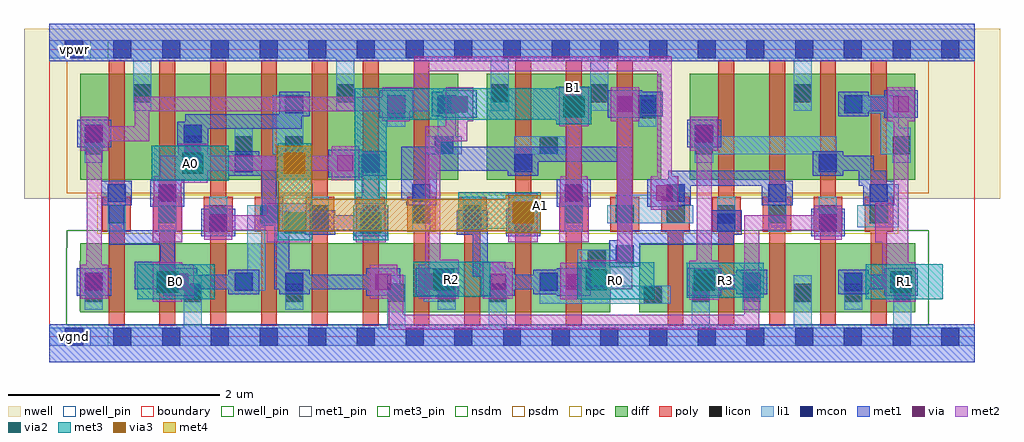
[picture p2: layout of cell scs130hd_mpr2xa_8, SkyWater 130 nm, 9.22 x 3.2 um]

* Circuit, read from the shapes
.subckt scs130hd_mpr2xa_8 A0 A1 B0 B1 R0 R1 R2 R3 VNB VPB vgnd vpwr
XM1 n1 B0 n2 VNB sky130_fd_pr__nfet_01v8 w=0.65 l=0.15
XM2 vgnd A0 n1 VNB sky130_fd_pr__nfet_01v8 w=0.65 l=0.15
XM3 n3 A1 vgnd VNB sky130_fd_pr__nfet_01v8 w=0.65 l=0.15
XM4 n4 B0 n3 VNB sky130_fd_pr__nfet_01v8 w=0.65 l=0.15
XM5 n5 B1 n4 VNB sky130_fd_pr__nfet_01v8 w=0.65 l=0.15
XM6 vgnd A0 n5 VNB sky130_fd_pr__nfet_01v8 w=0.65 l=0.15
XM7 R2 n6 vgnd VNB sky130_fd_pr__nfet_01v8 w=0.65 l=0.15
XM8 vgnd R0 R2 VNB sky130_fd_pr__nfet_01v8 w=0.65 l=0.15
XM9 n7 A1 vgnd VNB sky130_fd_pr__nfet_01v8 w=0.65 l=0.15
XM10 n6 B1 n7 VNB sky130_fd_pr__nfet_01v8 w=0.65 l=0.15
XM11 vgnd n2 R0 VNB sky130_fd_pr__nfet_01v8 w=0.65 l=0.15
XM12 R3 n6 vgnd VNB sky130_fd_pr__nfet_01v8 w=0.65 l=0.15
XM13 vgnd n2 R3 VNB sky130_fd_pr__nfet_01v8 w=0.65 l=0.15
XM14 R1 n4 vgnd VNB sky130_fd_pr__nfet_01v8 w=0.65 l=0.15
XM15 vgnd R3 R1 VNB sky130_fd_pr__nfet_01v8 w=0.65 l=0.15
XM16 vpwr B0 n2 VPB sky130_fd_pr__pfet_01v8 w=1 l=0.15
XM17 n8 A0 vpwr VPB sky130_fd_pr__pfet_01v8 w=1 l=0.15
XM18 n4 A1 n8 VPB sky130_fd_pr__pfet_01v8 w=1 l=0.15
XM19 n8 B0 n4 VPB sky130_fd_pr__pfet_01v8 w=1 l=0.15
XM20 vpwr B1 n8 VPB sky130_fd_pr__pfet_01v8 w=1 l=0.15
XM21 n2 A0 vpwr VPB sky130_fd_pr__pfet_01v8 w=1 l=0.15
XM22 R2 n6 n2 VPB sky130_fd_pr__pfet_01v8 w=1 l=0.15
XM23 n6 A1 vpwr VPB sky130_fd_pr__pfet_01v8 w=1 l=0.15
XM24 vpwr B1 n6 VPB sky130_fd_pr__pfet_01v8 w=1 l=0.15
XM25 R0 n2 vpwr VPB sky130_fd_pr__pfet_01v8 w=1 l=0.15
XM26 n9 n6 R3 VPB sky130_fd_pr__pfet_01v8 w=1 l=0.15
XM27 vpwr n2 n9 VPB sky130_fd_pr__pfet_01v8 w=1 l=0.15
XM28 n10 n4 vpwr VPB sky130_fd_pr__pfet_01v8 w=1 l=0.15
XM29 R1 R3 n10 VPB sky130_fd_pr__pfet_01v8 w=1 l=0.15
.ends

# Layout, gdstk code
import gdstk
lib = gdstk.Library(unit=1e-6, precision=1e-09)
def R(c, l, rs):  # rectangles x0, y0, x1, y1
    for r in rs: c.add(gdstk.rectangle(r[:2], r[2:], *l))
nwell_pin = (64, 16)
nwell = (64, 20)
diff = (65, 20)
poly = (66, 20)
licon = (66, 44)
li1 = (67, 20)
mcon = (67, 44)
met1_pin = (68, 16)
met1 = (68, 20)
via = (68, 44)
met2 = (69, 20)
via2 = (69, 44)
met3_pin = (70, 16)
met3 = (70, 20)
via3 = (70, 44)
met4 = (71, 20)
nsdm = (93, 44)
psdm = (94, 20)
npc = (95, 20)
pwell_pin = (122, 16)
boundary = (235, 4)

scs130hd_mpr2xa_8 = lib.new_cell('scs130hd_mpr2xa_8')
R(scs130hd_mpr2xa_8, nwell_pin, [(0.385,2.635,0.555,2.805), (0.385,2.635,0.555,2.805)])
R(scs130hd_mpr2xa_8, nwell, [(-0.24,1.305,8.98,2.91), (-0.24,1.305,8.98,2.91)])
R(scs130hd_mpr2xa_8, diff, [(0.29,0.235,5.3,0.245), (0.29,0.235,5.3,0.245), (5.57,0.235,8.18,0.885), (5.57,0.235,8.18,0.885), (0.285,0.245,5.3,0.715), (0.285,0.245,5.3,0.715), (0.29,0.715,5.3,0.885), (0.29,0.715,5.3,0.885), (0.29,1.485,3.86,2.485), (0.29,1.485,3.86,2.485), (4.13,1.485,5.78,2.485), (4.13,1.485,5.78,2.485), (6.05,1.485,8.18,2.485), (6.05,1.485,8.18,2.485)])
R(scs130hd_mpr2xa_8, poly, [(0.56,0.105,0.71,0.995), (0.56,0.105,0.71,0.995), (1.04,0.105,1.19,0.995), (1.04,0.105,1.19,0.995), (1.52,0.105,1.67,0.995), (1.52,0.105,1.67,0.995), (2,0.105,2.15,0.995), (2,0.105,2.15,0.995), (2.48,0.105,2.63,0.995), (2.48,0.105,2.63,0.995), (2.96,0.105,3.11,0.995), (2.96,0.105,3.11,0.995), (3.44,0.105,3.59,0.995), (3.44,0.105,3.59,0.995), (3.92,0.105,4.07,0.995), (3.92,0.105,4.07,0.995), (4.4,0.105,4.55,0.995), (4.4,0.105,4.55,0.995), (4.88,0.105,5.03,0.995), (4.88,0.105,5.03,0.995), (5.84,0.105,5.99,0.995), (5.84,0.105,5.99,0.995), (6.32,0.105,6.47,0.995), (6.32,0.105,6.47,0.995), (6.8,0.105,6.95,0.995), (6.8,0.105,6.95,0.995), (7.28,0.105,7.43,0.995), (7.28,0.105,7.43,0.995), (7.76,0.105,7.91,0.995), (7.76,0.105,7.91,0.995), (0.5,0.995,0.77,1.325), (0.5,0.995,0.77,1.325), (0.98,0.995,1.25,1.325), (0.98,0.995,1.25,1.325), (1.46,0.995,1.73,1.325), (1.46,0.995,1.73,1.325), (1.94,0.995,2.21,1.325), (1.94,0.995,2.21,1.325), (2.42,0.995,2.69,1.325), (2.42,0.995,2.69,1.325), (2.9,0.995,3.17,1.325), (2.9,0.995,3.17,1.325), (3.38,0.995,3.65,1.325), (3.38,0.995,3.65,1.325), (3.86,0.995,4.13,1.325), (3.86,0.995,4.13,1.325), (4.34,0.995,4.61,1.325), (4.34,0.995,4.61,1.325), (4.82,0.995,5.09,1.325), (4.82,0.995,5.09,1.325), (5.3,0.995,5.57,1.325), (5.3,0.995,5.57,1.325), (5.78,0.995,6.05,1.325), (5.78,0.995,6.05,1.325), (6.26,0.995,6.53,1.325), (6.26,0.995,6.53,1.325), (6.74,0.995,7.01,1.325), (6.74,0.995,7.01,1.325), (7.22,0.995,7.49,1.325), (7.22,0.995,7.49,1.325), (7.7,0.995,7.97,1.325), (7.7,0.995,7.97,1.325), (0.56,1.325,0.71,2.615), (0.56,1.325,0.71,2.615), (1.04,1.325,1.19,2.615), (1.04,1.325,1.19,2.615), (1.52,1.325,1.67,2.615), (1.52,1.325,1.67,2.615), (2,1.325,2.15,2.615), (2,1.325,2.15,2.615), (2.48,1.325,2.63,2.615), (2.48,1.325,2.63,2.615), (2.96,1.325,3.11,2.615), (2.96,1.325,3.11,2.615), (3.44,1.325,3.59,2.615), (3.44,1.325,3.59,2.615), (4.4,1.325,4.55,2.615), (4.4,1.325,4.55,2.615), (4.88,1.325,5.03,2.615), (4.88,1.325,5.03,2.615), (5.36,1.325,5.51,2.615), (5.36,1.325,5.51,2.615), (6.32,1.325,6.47,2.615), (6.32,1.325,6.47,2.615), (6.8,1.325,6.95,2.615), (6.8,1.325,6.95,2.615), (7.28,1.325,7.43,2.615), (7.28,1.325,7.43,2.615), (7.76,1.325,7.91,2.615), (7.76,1.325,7.91,2.615)])
R(scs130hd_mpr2xa_8, licon, [(5.615,0.315,5.785,0.485), (5.615,0.315,5.785,0.485), (0.335,0.335,0.505,0.505), (0.335,0.335,0.505,0.505), (1.27,0.335,1.44,0.505), (1.27,0.335,1.44,0.505), (2.23,0.335,2.4,0.505), (2.23,0.335,2.4,0.505), (3.19,0.335,3.36,0.505), (3.19,0.335,3.36,0.505), (3.67,0.335,3.84,0.505), (3.67,0.335,3.84,0.505), (4.15,0.335,4.32,0.505), (4.15,0.335,4.32,0.505), (6.07,0.335,6.24,0.505), (6.07,0.335,6.24,0.505), (6.55,0.335,6.72,0.505), (6.55,0.335,6.72,0.505), (7.03,0.335,7.2,0.505), (7.03,0.335,7.2,0.505), (7.51,0.335,7.68,0.505), (7.51,0.335,7.68,0.505), (7.97,0.335,8.14,0.505), (7.97,0.335,8.14,0.505), (5.085,0.655,5.255,0.825), (5.085,0.655,5.255,0.825), (0.55,1.075,0.72,1.245), (0.55,1.075,0.72,1.245), (1.03,1.075,1.2,1.245), (1.03,1.075,1.2,1.245), (1.51,1.075,1.68,1.245), (1.51,1.075,1.68,1.245), (1.99,1.075,2.16,1.245), (1.99,1.075,2.16,1.245), (2.47,1.075,2.64,1.245), (2.47,1.075,2.64,1.245), (2.95,1.075,3.12,1.245), (2.95,1.075,3.12,1.245), (3.43,1.075,3.6,1.245), (3.43,1.075,3.6,1.245), (3.91,1.075,4.08,1.245), (3.91,1.075,4.08,1.245), (4.39,1.075,4.56,1.245), (4.39,1.075,4.56,1.245), (4.87,1.075,5.04,1.245), (4.87,1.075,5.04,1.245), (5.35,1.075,5.52,1.245), (5.35,1.075,5.52,1.245), (5.83,1.075,6,1.245), (5.83,1.075,6,1.245), (6.31,1.075,6.48,1.245), (6.31,1.075,6.48,1.245), (6.79,1.075,6.96,1.245), (6.79,1.075,6.96,1.245), (7.27,1.075,7.44,1.245), (7.27,1.075,7.44,1.245), (7.75,1.075,7.92,1.245), (7.75,1.075,7.92,1.245), (0.335,1.725,0.505,1.895), (0.335,1.725,0.505,1.895), (1.27,1.725,1.44,1.895), (1.27,1.725,1.44,1.895), (1.75,1.725,1.92,1.895), (1.75,1.725,1.92,1.895), (2.23,1.725,2.4,1.895), (2.23,1.725,2.4,1.895), (3.645,1.725,3.815,1.895), (3.645,1.725,3.815,1.895), (4.63,1.725,4.8,1.895), (4.63,1.725,4.8,1.895), (6.095,1.725,6.265,1.895), (6.095,1.725,6.265,1.895), (7.965,1.725,8.135,1.895), (7.965,1.725,8.135,1.895), (3.19,2.065,3.36,2.235), (3.19,2.065,3.36,2.235), (5.565,2.065,5.735,2.235), (5.565,2.065,5.735,2.235), (0.79,2.215,0.96,2.385), (0.79,2.215,0.96,2.385), (2.71,2.215,2.88,2.385), (2.71,2.215,2.88,2.385), (4.17,2.215,4.34,2.385), (4.17,2.215,4.34,2.385), (5.11,2.215,5.28,2.385), (5.11,2.215,5.28,2.385), (7.03,2.215,7.2,2.385), (7.03,2.215,7.2,2.385)])
R(scs130hd_mpr2xa_8, li1, [(0,-0.085,8.74,0.085), (0,-0.085,8.74,0.085), (1.27,0.085,1.44,0.585), (1.27,0.085,1.44,0.585), (3.19,0.085,3.36,0.585), (3.19,0.085,3.36,0.585), (4.15,0.085,4.32,0.585), (4.15,0.085,4.32,0.585), (6.07,0.085,6.24,0.585), (6.07,0.085,6.24,0.585), (7.03,0.085,7.2,0.585), (7.03,0.085,7.2,0.585), (7.97,0.085,8.14,0.585), (7.97,0.085,8.14,0.585), (0.335,0.255,0.505,0.605), (0.335,0.255,0.505,0.605), (2.23,0.255,2.4,0.605), (2.23,0.255,2.4,0.605), (3.67,0.255,3.84,0.335), (3.67,0.255,3.84,0.335), (6.55,0.255,6.72,0.605), (6.55,0.255,6.72,0.605), (7.51,0.255,7.68,0.605), (7.51,0.255,7.68,0.605), (4.63,0.315,5.87,0.485), (4.63,0.315,5.87,0.485), (3.535,0.335,3.84,0.555), (3.535,0.335,3.84,0.555), (1.75,0.435,2.04,0.605), (1.75,0.435,2.04,0.605), (4.63,0.485,4.8,0.605), (4.63,0.485,4.8,0.605), (3.63,0.555,3.84,0.585), (3.63,0.555,3.84,0.585), (3.63,0.585,3.8,0.605), (3.63,0.585,3.8,0.605), (1.87,0.605,2.04,1.075), (1.87,0.605,2.04,1.075), (4.99,0.655,5.52,0.825), (4.99,0.655,5.52,0.825), (5.35,0.825,5.52,0.865), (5.35,0.825,5.52,0.865), (0.55,0.995,0.72,1.445), (0.55,0.995,0.72,1.445), (1.03,0.995,1.2,1.445), (1.03,0.995,1.2,1.445), (1.51,0.995,1.68,1.325), (1.51,0.995,1.68,1.325), (2.47,0.995,2.64,1.325), (2.47,0.995,2.64,1.325), (2.95,0.995,3.12,1.725), (2.95,0.995,3.12,1.725), (3.43,0.995,3.6,1.445), (3.43,0.995,3.6,1.445), (3.91,0.995,4.08,1.325), (3.91,0.995,4.08,1.325), (4.39,0.995,4.56,1.325), (4.39,0.995,4.56,1.325), (4.87,0.995,5.04,1.445), (4.87,0.995,5.04,1.445), (6.31,0.995,6.48,1.325), (6.31,0.995,6.48,1.325), (6.79,0.995,6.96,1.445), (6.79,0.995,6.96,1.445), (7.27,0.995,7.44,1.325), (7.27,0.995,7.44,1.325), (7.63,1.035,8.025,1.245), (7.63,1.035,8.025,1.245), (1.87,1.075,2.24,1.245), (1.87,1.075,2.24,1.245), (5.27,1.075,6.08,1.245), (5.27,1.075,6.08,1.245), (5.35,1.245,6,1.345), (5.35,1.245,6,1.345), (7.75,1.245,8.025,1.445), (7.75,1.245,8.025,1.445), (5.83,1.345,6,1.445), (5.83,1.345,6,1.445), (1.75,1.555,1.92,1.975), (1.75,1.555,1.92,1.975), (4.39,1.555,4.56,1.725), (4.39,1.555,4.56,1.725), (7.27,1.555,7.44,1.725), (7.27,1.555,7.44,1.725), (0.335,1.645,0.505,2.005), (0.335,1.645,0.505,2.005), (1.27,1.645,1.44,2.005), (1.27,1.645,1.44,2.005), (2.23,1.645,2.4,1.725), (2.23,1.645,2.4,1.725), (6.095,1.645,6.27,1.725), (6.095,1.645,6.27,1.725), (7.96,1.645,8.135,1.725), (7.96,1.645,8.135,1.725), (2.11,1.725,2.4,2.285), (2.11,1.725,2.4,2.285), (3.565,1.725,3.895,1.895), (3.565,1.725,3.895,1.895), (4.39,1.725,4.88,1.895), (4.39,1.725,4.88,1.895), (6.095,1.725,7.44,1.895), (6.095,1.725,7.44,1.895), (7.855,1.725,8.135,1.975), (7.855,1.725,8.135,1.975), (3.67,1.895,3.84,2.285), (3.67,1.895,3.84,2.285), (6.095,1.895,6.27,2.005), (6.095,1.895,6.27,2.005), (7.855,1.975,8.025,2.115), (7.855,1.975,8.025,2.115), (3.19,1.985,3.36,2.315), (3.19,1.985,3.36,2.315), (5.565,1.985,5.735,2.315), (5.565,1.985,5.735,2.315), (7.51,2.115,8.025,2.285), (7.51,2.115,8.025,2.285), (0.79,2.135,0.96,2.635), (0.79,2.135,0.96,2.635), (2.71,2.135,2.88,2.635), (2.71,2.135,2.88,2.635), (4.17,2.135,4.34,2.635), (4.17,2.135,4.34,2.635), (5.11,2.135,5.28,2.635), (5.11,2.135,5.28,2.635), (7.03,2.135,7.2,2.635), (7.03,2.135,7.2,2.635), (0,2.635,8.74,2.805), (0,2.635,8.74,2.805)])
R(scs130hd_mpr2xa_8, mcon, [(0.145,-0.085,0.315,0.085), (0.145,-0.085,0.315,0.085), (0.605,-0.085,0.775,0.085), (0.605,-0.085,0.775,0.085), (1.065,-0.085,1.235,0.085), (1.065,-0.085,1.235,0.085), (1.525,-0.085,1.695,0.085), (1.525,-0.085,1.695,0.085), (1.985,-0.085,2.155,0.085), (1.985,-0.085,2.155,0.085), (2.445,-0.085,2.615,0.085), (2.445,-0.085,2.615,0.085), (2.905,-0.085,3.075,0.085), (2.905,-0.085,3.075,0.085), (3.365,-0.085,3.535,0.085), (3.365,-0.085,3.535,0.085), (3.825,-0.085,3.995,0.085), (3.825,-0.085,3.995,0.085), (4.285,-0.085,4.455,0.085), (4.285,-0.085,4.455,0.085), (4.745,-0.085,4.915,0.085), (4.745,-0.085,4.915,0.085), (5.205,-0.085,5.375,0.085), (5.205,-0.085,5.375,0.085), (5.665,-0.085,5.835,0.085), (5.665,-0.085,5.835,0.085), (6.125,-0.085,6.295,0.085), (6.125,-0.085,6.295,0.085), (6.585,-0.085,6.755,0.085), (6.585,-0.085,6.755,0.085), (7.045,-0.085,7.215,0.085), (7.045,-0.085,7.215,0.085), (7.505,-0.085,7.675,0.085), (7.505,-0.085,7.675,0.085), (7.965,-0.085,8.135,0.085), (7.965,-0.085,8.135,0.085), (8.425,-0.085,8.595,0.085), (8.425,-0.085,8.595,0.085), (0.335,0.435,0.505,0.605), (0.335,0.435,0.505,0.605), (1.75,0.435,1.92,0.605), (1.75,0.435,1.92,0.605), (2.23,0.435,2.4,0.605), (2.23,0.435,2.4,0.605), (3.63,0.435,3.8,0.605), (3.63,0.435,3.8,0.605), (4.63,0.435,4.8,0.605), (4.63,0.435,4.8,0.605), (6.55,0.435,6.72,0.605), (6.55,0.435,6.72,0.605), (7.51,0.435,7.68,0.605), (7.51,0.435,7.68,0.605), (5.35,0.695,5.52,0.865), (5.35,0.695,5.52,0.865), (1.51,0.995,1.68,1.165), (1.51,0.995,1.68,1.165), (2.47,0.995,2.64,1.165), (2.47,0.995,2.64,1.165), (3.91,0.995,4.08,1.165), (3.91,0.995,4.08,1.165), (4.39,0.995,4.56,1.165), (4.39,0.995,4.56,1.165), (6.31,0.995,6.48,1.165), (6.31,0.995,6.48,1.165), (7.27,0.995,7.44,1.165), (7.27,0.995,7.44,1.165), (0.55,1.275,0.72,1.445), (0.55,1.275,0.72,1.445), (1.03,1.275,1.2,1.445), (1.03,1.275,1.2,1.445), (3.43,1.275,3.6,1.445), (3.43,1.275,3.6,1.445), (4.87,1.275,5.04,1.445), (4.87,1.275,5.04,1.445), (5.83,1.275,6,1.445), (5.83,1.275,6,1.445), (6.79,1.275,6.96,1.445), (6.79,1.275,6.96,1.445), (7.75,1.275,7.92,1.445), (7.75,1.275,7.92,1.445), (1.75,1.555,1.92,1.725), (1.75,1.555,1.92,1.725), (2.95,1.555,3.12,1.725), (2.95,1.555,3.12,1.725), (4.39,1.555,4.56,1.725), (4.39,1.555,4.56,1.725), (7.27,1.555,7.44,1.725), (7.27,1.555,7.44,1.725), (0.335,1.835,0.505,2.005), (0.335,1.835,0.505,2.005), (1.27,1.835,1.44,2.005), (1.27,1.835,1.44,2.005), (6.1,1.835,6.27,2.005), (6.1,1.835,6.27,2.005), (2.23,2.115,2.4,2.285), (2.23,2.115,2.4,2.285), (3.19,2.115,3.36,2.285), (3.19,2.115,3.36,2.285), (3.67,2.115,3.84,2.285), (3.67,2.115,3.84,2.285), (5.565,2.115,5.735,2.285), (5.565,2.115,5.735,2.285), (7.51,2.115,7.68,2.285), (7.51,2.115,7.68,2.285), (0.145,2.635,0.315,2.805), (0.145,2.635,0.315,2.805), (0.605,2.635,0.775,2.805), (0.605,2.635,0.775,2.805), (1.065,2.635,1.235,2.805), (1.065,2.635,1.235,2.805), (1.525,2.635,1.695,2.805), (1.525,2.635,1.695,2.805), (1.985,2.635,2.155,2.805), (1.985,2.635,2.155,2.805), (2.445,2.635,2.615,2.805), (2.445,2.635,2.615,2.805), (2.905,2.635,3.075,2.805), (2.905,2.635,3.075,2.805), (3.365,2.635,3.535,2.805), (3.365,2.635,3.535,2.805), (3.825,2.635,3.995,2.805), (3.825,2.635,3.995,2.805), (4.285,2.635,4.455,2.805), (4.285,2.635,4.455,2.805), (4.745,2.635,4.915,2.805), (4.745,2.635,4.915,2.805), (5.205,2.635,5.375,2.805), (5.205,2.635,5.375,2.805), (5.665,2.635,5.835,2.805), (5.665,2.635,5.835,2.805), (6.125,2.635,6.295,2.805), (6.125,2.635,6.295,2.805), (6.585,2.635,6.755,2.805), (6.585,2.635,6.755,2.805), (7.045,2.635,7.215,2.805), (7.045,2.635,7.215,2.805), (7.505,2.635,7.675,2.805), (7.505,2.635,7.675,2.805), (7.965,2.635,8.135,2.805), (7.965,2.635,8.135,2.805), (8.425,2.635,8.595,2.805), (8.425,2.635,8.595,2.805)])
R(scs130hd_mpr2xa_8, met1_pin, [(0.155,-0.085,0.325,0.085), (0.155,-0.085,0.325,0.085), (0.155,2.635,0.325,2.805), (0.155,2.635,0.325,2.805)])
R(scs130hd_mpr2xa_8, met1, [(0,-0.24,8.74,0.12), (0,-0.24,8.74,0.12), (0.26,0.39,0.585,0.65), (0.26,0.39,0.585,0.65), (1.075,0.39,1.395,0.45), (1.075,0.39,1.395,0.45), (2.995,0.39,3.315,0.45), (2.995,0.39,3.315,0.45), (3.46,0.39,3.86,0.65), (3.46,0.39,3.86,0.65), (4.075,0.39,4.395,0.45), (4.075,0.39,4.395,0.45), (4.795,0.39,5.115,0.405), (4.795,0.39,5.115,0.405), (6.025,0.39,6.345,0.45), (6.025,0.39,6.345,0.45), (7.885,0.39,8.205,0.45), (7.885,0.39,8.205,0.45), (1.69,0.405,1.98,0.45), (1.69,0.405,1.98,0.45), (2.17,0.405,2.46,0.45), (2.17,0.405,2.46,0.45), (4.57,0.405,5.115,0.45), (4.57,0.405,5.115,0.45), (6.49,0.405,6.78,0.45), (6.49,0.405,6.78,0.45), (7.45,0.405,7.74,0.45), (7.45,0.405,7.74,0.45), (0.805,0.45,1.98,0.59), (0.805,0.45,1.98,0.59), (2.125,0.45,3.315,0.59), (2.125,0.45,3.315,0.59), (4.075,0.45,5.115,0.57), (4.075,0.45,5.115,0.57), (6.025,0.45,6.78,0.59), (6.025,0.45,6.78,0.59), (7.45,0.45,8.205,0.59), (7.45,0.45,8.205,0.59), (4,0.57,5.115,0.59), (4,0.57,5.115,0.59), (0.805,0.59,1.395,0.65), (0.805,0.59,1.395,0.65), (1.69,0.59,1.98,0.635), (1.69,0.59,1.98,0.635), (2.125,0.59,2.46,0.635), (2.125,0.59,2.46,0.635), (2.995,0.59,3.315,0.65), (2.995,0.59,3.315,0.65), (4,0.59,4.395,0.65), (4,0.59,4.395,0.65), (4.57,0.59,5.115,0.635), (4.57,0.59,5.115,0.635), (6.025,0.59,6.345,0.65), (6.025,0.59,6.345,0.65), (6.49,0.59,6.78,0.635), (6.49,0.59,6.78,0.635), (7.45,0.59,7.74,0.635), (7.45,0.59,7.74,0.635), (7.885,0.59,8.205,0.65), (7.885,0.59,8.205,0.65), (2.125,0.635,2.265,1.05), (2.125,0.635,2.265,1.05), (4.795,0.635,5.115,0.65), (4.795,0.635,5.115,0.65), (0.805,0.65,1.185,0.71), (0.805,0.65,1.185,0.71), (4,0.65,4.305,0.71), (4,0.65,4.305,0.71), (5.29,0.665,5.58,0.87), (5.29,0.665,5.58,0.87), (1.045,0.71,1.185,0.87), (1.045,0.71,1.185,0.87), (4,0.71,4.14,0.965), (4,0.71,4.14,0.965), (0.565,0.87,1.185,1.01), (0.565,0.87,1.185,1.01), (5.29,0.87,6.465,0.915), (5.29,0.87,6.465,0.915), (5.365,0.915,6.465,0.965), (5.365,0.915,6.465,0.965), (1.435,0.95,1.755,1.21), (1.435,0.95,1.755,1.21), (2.875,0.95,3.195,1.01), (2.875,0.95,3.195,1.01), (4.315,0.95,4.635,1.21), (4.315,0.95,4.635,1.21), (7.195,0.95,7.515,1.21), (7.195,0.95,7.515,1.21), (2.41,0.965,2.7,1.01), (2.41,0.965,2.7,1.01), (3.85,0.965,4.14,1.195), (3.85,0.965,4.14,1.195), (5.365,0.965,6.54,1.01), (5.365,0.965,6.54,1.01), (0.565,1.01,0.705,1.245), (0.565,1.01,0.705,1.245), (2.41,1.01,3.195,1.15), (2.41,1.01,3.195,1.15), (5.365,1.01,5.505,1.655), (5.365,1.01,5.505,1.655), (6.25,1.01,6.54,1.195), (6.25,1.01,6.54,1.195), (2.005,1.05,2.265,1.19), (2.005,1.05,2.265,1.19), (2.41,1.15,2.7,1.195), (2.41,1.15,2.7,1.195), (2.875,1.15,3.195,1.21), (2.875,1.15,3.195,1.21), (2.005,1.19,2.145,1.525), (2.005,1.19,2.145,1.525), (0.955,1.23,1.275,1.49), (0.955,1.23,1.275,1.49), (4.795,1.23,5.115,1.49), (4.795,1.23,5.115,1.49), (5.65,1.23,5.97,1.245), (5.65,1.23,5.97,1.245), (0.49,1.245,0.78,1.475), (0.49,1.245,0.78,1.475), (3.37,1.245,3.66,1.29), (3.37,1.245,3.66,1.29), (5.65,1.245,6.06,1.43), (5.65,1.245,6.06,1.43), (6.73,1.245,7.02,1.43), (6.73,1.245,7.02,1.43), (7.69,1.245,7.98,1.43), (7.69,1.245,7.98,1.43), (3.325,1.29,3.66,1.57), (3.325,1.29,3.66,1.57), (5.65,1.43,7.02,1.475), (5.65,1.43,7.02,1.475), (7.645,1.43,7.98,1.475), (7.645,1.43,7.98,1.475), (5.65,1.475,6.945,1.49), (5.65,1.475,6.945,1.49), (7.645,1.475,7.905,1.57), (7.645,1.475,7.905,1.57), (5.845,1.49,6.945,1.57), (5.845,1.49,6.945,1.57), (2.635,1.51,2.955,1.525), (2.635,1.51,2.955,1.525), (1.69,1.525,2.145,1.71), (1.69,1.525,2.145,1.71), (2.635,1.525,3.18,1.755), (2.635,1.525,3.18,1.755), (4.33,1.525,4.62,1.57), (4.33,1.525,4.62,1.57), (7.21,1.525,7.5,1.57), (7.21,1.525,7.5,1.57), (3.325,1.57,4.62,1.655), (3.325,1.57,4.62,1.655), (7.21,1.57,7.785,1.71), (7.21,1.57,7.785,1.71), (3.325,1.655,5.505,1.795), (3.325,1.655,5.505,1.795), (1.69,1.71,1.98,1.755), (1.69,1.71,1.98,1.755), (7.21,1.71,7.5,1.755), (7.21,1.71,7.5,1.755), (2.635,1.755,2.955,1.77), (2.635,1.755,2.955,1.77), (0.265,1.79,0.585,2.05), (0.265,1.79,0.585,2.05), (6.025,1.79,6.345,2.05), (6.025,1.79,6.345,2.05), (3.64,1.795,3.815,1.895), (3.64,1.795,3.815,1.895), (1.21,1.805,1.5,1.965), (1.21,1.805,1.5,1.965), (1.21,1.965,2.385,2.035), (1.21,1.965,2.385,2.035), (1.285,2.035,2.385,2.085), (1.285,2.035,2.385,2.085), (3.115,2.07,3.435,2.33), (3.115,2.07,3.435,2.33), (3.715,2.07,4.035,2.085), (3.715,2.07,4.035,2.085), (5.275,2.07,5.6,2.085), (5.275,2.07,5.6,2.085), (7.885,2.07,8.205,2.13), (7.885,2.07,8.205,2.13), (1.285,2.085,2.46,2.105), (1.285,2.085,2.46,2.105), (3.61,2.085,4.035,2.315), (3.61,2.085,4.035,2.315), (5.275,2.085,5.795,2.315), (5.275,2.085,5.795,2.315), (7.45,2.085,7.74,2.13), (7.45,2.085,7.74,2.13), (2.17,2.105,2.46,2.315), (2.17,2.105,2.46,2.315), (7.45,2.13,8.205,2.27), (7.45,2.13,8.205,2.27), (7.45,2.27,7.74,2.315), (7.45,2.27,7.74,2.315), (7.885,2.27,8.205,2.33), (7.885,2.27,8.205,2.33), (3.715,2.315,4.035,2.33), (3.715,2.315,4.035,2.33), (5.275,2.315,5.6,2.33), (5.275,2.315,5.6,2.33), (0,2.605,8.74,2.96), (0,2.605,8.74,2.96)])
R(scs130hd_mpr2xa_8, via, [(0.345,0.445,0.495,0.595), (0.345,0.445,0.495,0.595), (1.16,0.445,1.31,0.595), (1.16,0.445,1.31,0.595), (3.08,0.445,3.23,0.595), (3.08,0.445,3.23,0.595), (3.545,0.445,3.695,0.595), (3.545,0.445,3.695,0.595), (4.16,0.445,4.31,0.595), (4.16,0.445,4.31,0.595), (4.88,0.445,5.03,0.595), (4.88,0.445,5.03,0.595), (6.11,0.445,6.26,0.595), (6.11,0.445,6.26,0.595), (7.97,0.445,8.12,0.595), (7.97,0.445,8.12,0.595), (1.52,1.005,1.67,1.155), (1.52,1.005,1.67,1.155), (2.96,1.005,3.11,1.155), (2.96,1.005,3.11,1.155), (4.4,1.005,4.55,1.155), (4.4,1.005,4.55,1.155), (7.28,1.005,7.43,1.155), (7.28,1.005,7.43,1.155), (1.04,1.285,1.19,1.435), (1.04,1.285,1.19,1.435), (4.88,1.285,5.03,1.435), (4.88,1.285,5.03,1.435), (5.735,1.285,5.885,1.435), (5.735,1.285,5.885,1.435), (2.72,1.565,2.87,1.715), (2.72,1.565,2.87,1.715), (0.35,1.845,0.5,1.995), (0.35,1.845,0.5,1.995), (6.11,1.845,6.26,1.995), (6.11,1.845,6.26,1.995), (3.2,2.125,3.35,2.275), (3.2,2.125,3.35,2.275), (3.8,2.125,3.95,2.275), (3.8,2.125,3.95,2.275), (5.36,2.125,5.51,2.275), (5.36,2.125,5.51,2.275), (7.97,2.125,8.12,2.275), (7.97,2.125,8.12,2.275)])
R(scs130hd_mpr2xa_8, met2, [(3.205,0.07,6.705,0.21), (3.205,0.07,6.705,0.21), (3.205,0.21,3.345,0.36), (3.205,0.21,3.345,0.36), (6.565,0.21,6.705,1.01), (6.565,0.21,6.705,1.01), (0.975,0.335,1.255,0.36), (0.975,0.335,1.255,0.36), (7.905,0.335,8.185,0.45), (7.905,0.335,8.185,0.45), (6.045,0.35,6.325,0.72), (6.045,0.35,6.325,0.72), (4.825,0.355,5.305,0.45), (4.825,0.355,5.305,0.45), (0.29,0.36,0.555,0.68), (0.29,0.36,0.555,0.68), (0.975,0.36,1.365,0.68), (0.975,0.36,1.365,0.68), (3.025,0.36,3.345,0.59), (3.025,0.36,3.345,0.59), (3.49,0.36,3.865,0.68), (3.49,0.36,3.865,0.68), (4.095,0.36,4.375,0.705), (4.095,0.36,4.375,0.705), (4.825,0.45,5.505,0.7), (4.825,0.45,5.505,0.7), (7.87,0.45,8.185,0.705), (7.87,0.45,8.185,0.705), (3.025,0.59,3.285,0.68), (3.025,0.59,3.285,0.68), (0.35,0.68,0.495,0.82), (0.35,0.68,0.495,0.82), (0.975,0.68,1.255,0.705), (0.975,0.68,1.255,0.705), (3.55,0.68,3.865,0.73), (3.55,0.68,3.865,0.73), (5.025,0.7,5.505,0.725), (5.025,0.7,5.505,0.725), (7.87,0.705,8.115,0.895), (7.87,0.705,8.115,0.895), (6.115,0.72,6.255,1.76), (6.115,0.72,6.255,1.76), (5.365,0.725,5.505,2.04), (5.365,0.725,5.505,2.04), (3.55,0.73,3.69,1.85), (3.55,0.73,3.69,1.85), (0.355,0.82,0.495,1.64), (0.355,0.82,0.495,1.64), (0.975,0.895,1.255,1.265), (0.975,0.895,1.255,1.265), (2.055,0.895,2.465,1.01), (2.055,0.895,2.465,1.01), (2.895,0.895,3.175,1.265), (2.895,0.895,3.175,1.265), (4.335,0.895,4.615,1.36), (4.335,0.895,4.615,1.36), (4.815,0.895,5.095,1.265), (4.815,0.895,5.095,1.265), (7.8,0.895,8.115,1.265), (7.8,0.895,8.115,1.265), (1.465,0.92,1.725,1.01), (1.465,0.92,1.725,1.01), (7.225,0.92,7.485,1.01), (7.225,0.92,7.485,1.01), (1.465,1.01,2.465,1.15), (1.465,1.01,2.465,1.15), (6.565,1.01,7.485,1.15), (6.565,1.01,7.485,1.15), (1.465,1.15,1.725,1.24), (1.465,1.15,1.725,1.24), (2.055,1.15,2.465,1.265), (2.055,1.15,2.465,1.265), (7.225,1.15,7.485,1.24), (7.225,1.15,7.485,1.24), (5.68,1.2,5.94,1.52), (5.68,1.2,5.94,1.52), (0.985,1.265,1.245,1.455), (0.985,1.265,1.245,1.455), (4.825,1.265,5.085,1.52), (4.825,1.265,5.085,1.52), (7.975,1.265,8.115,2.04), (7.975,1.265,8.115,2.04), (0.985,1.455,1.495,1.52), (0.985,1.455,1.495,1.52), (2.665,1.48,2.925,1.57), (2.665,1.48,2.925,1.57), (1.045,1.52,1.495,1.57), (1.045,1.52,1.495,1.57), (4.885,1.52,5.025,1.99), (4.885,1.52,5.025,1.99), (5.74,1.52,5.88,2.51), (5.74,1.52,5.88,2.51), (1.045,1.57,2.925,1.71), (1.045,1.57,2.925,1.71), (0.35,1.64,0.495,1.76), (0.35,1.64,0.495,1.76), (1.215,1.71,1.495,1.825), (1.215,1.71,1.495,1.825), (2.665,1.71,2.925,1.8), (2.665,1.71,2.925,1.8), (0.295,1.76,0.555,1.85), (0.295,1.76,0.555,1.85), (6.055,1.76,6.315,2.08), (6.055,1.76,6.315,2.08), (0.295,1.85,0.945,1.99), (0.295,1.85,0.945,1.99), (3.55,1.85,3.945,1.99), (3.55,1.85,3.945,1.99), (0.295,1.99,0.555,2.08), (0.295,1.99,0.555,2.08), (0.805,1.99,0.945,2.13), (0.805,1.99,0.945,2.13), (3.745,1.99,3.945,2.04), (3.745,1.99,3.945,2.04), (4.815,1.99,5.095,2.36), (4.815,1.99,5.095,2.36), (3.145,2.04,3.405,2.13), (3.145,2.04,3.405,2.13), (3.745,2.04,4.005,2.36), (3.745,2.04,4.005,2.36), (5.305,2.04,5.57,2.36), (5.305,2.04,5.57,2.36), (7.915,2.04,8.175,2.36), (7.915,2.04,8.175,2.36), (0.805,2.13,3.585,2.27), (0.805,2.13,3.585,2.27), (3.145,2.27,3.585,2.36), (3.145,2.27,3.585,2.36), (3.445,2.36,3.585,2.51), (3.445,2.36,3.585,2.51), (3.445,2.51,5.88,2.65), (3.445,2.51,5.88,2.65)])
R(scs130hd_mpr2xa_8, via2, [(1.015,0.42,1.215,0.62), (1.015,0.42,1.215,0.62), (7.945,0.42,8.145,0.62), (7.945,0.42,8.145,0.62), (6.085,0.435,6.285,0.635), (6.085,0.435,6.285,0.635), (5.065,0.44,5.265,0.64), (5.065,0.44,5.265,0.64), (3.625,0.445,3.825,0.645), (3.625,0.445,3.825,0.645), (2.22,0.98,2.42,1.18), (2.22,0.98,2.42,1.18), (2.935,0.98,3.135,1.18), (2.935,0.98,3.135,1.18), (4.375,1.075,4.575,1.275), (4.375,1.075,4.575,1.275), (1.255,1.54,1.455,1.74), (1.255,1.54,1.455,1.74), (4.855,2.075,5.055,2.275), (4.855,2.075,5.055,2.275)])
R(scs130hd_mpr2xa_8, met3_pin, [(0.83,0.355,1.56,0.685), (0.83,0.355,1.56,0.685), (4.985,0.355,5.715,0.705), (4.985,0.355,5.715,0.705), (7.71,0.355,8.44,0.685), (7.71,0.355,8.44,0.685), (6.02,0.37,6.75,0.7), (6.02,0.37,6.75,0.7), (3.435,0.38,4.165,0.71), (3.435,0.38,4.165,0.71), (0.965,1.475,1.695,1.805), (0.965,1.475,1.695,1.805), (4.79,2.35,5.12,2.365), (4.79,2.35,5.12,2.365)])
R(scs130hd_mpr2xa_8, met3, [(0.83,0.355,1.56,0.685), (0.83,0.355,1.56,0.685), (4.985,0.355,5.715,0.705), (4.985,0.355,5.715,0.705), (7.71,0.355,8.44,0.685), (7.71,0.355,8.44,0.685), (6.02,0.37,6.75,0.7), (6.02,0.37,6.75,0.7), (3.435,0.38,4.165,0.71), (3.435,0.38,4.165,0.71), (2.155,0.915,2.485,1.45), (2.155,0.915,2.485,1.45), (2.87,0.915,3.2,1.245), (2.87,0.915,3.2,1.245), (4.315,0.985,4.64,1.02), (4.315,0.985,4.64,1.02), (3.86,1.02,4.64,1.365), (3.86,1.02,4.64,1.365), (2.885,1.245,3.185,2.05), (2.885,1.245,3.185,2.05), (2.155,1.45,2.475,1.83), (2.155,1.45,2.475,1.83), (0.965,1.475,1.695,1.805), (0.965,1.475,1.695,1.805), (4.79,2.01,5.12,2.05), (4.79,2.01,5.12,2.05), (2.885,2.05,5.12,2.35), (2.885,2.05,5.12,2.35), (4.79,2.35,5.12,2.365), (4.79,2.35,5.12,2.365)])
R(scs130hd_mpr2xa_8, via3, [(4.375,1.075,4.575,1.275), (4.375,1.075,4.575,1.275), (2.215,1.54,2.415,1.74), (2.215,1.54,2.415,1.74)])
R(scs130hd_mpr2xa_8, met4, [(4.31,0.985,4.64,1), (4.31,0.985,4.64,1), (2.165,1,4.64,1.3), (2.165,1,4.64,1.3), (2.165,1.3,2.48,1.475), (2.165,1.3,2.48,1.475), (4.31,1.3,4.64,1.34), (4.31,1.3,4.64,1.34), (2.15,1.475,2.48,1.805), (2.15,1.475,2.48,1.805)])
R(scs130hd_mpr2xa_8, nsdm, [(0.165,0.11,8.305,0.12), (0.165,0.11,8.305,0.12), (0.16,0.12,8.305,0.84), (0.16,0.12,8.305,0.84), (0.165,0.84,8.305,1.01), (0.165,0.84,8.305,1.01)])
R(scs130hd_mpr2xa_8, psdm, [(0.165,1.36,8.305,2.61), (0.165,1.36,8.305,2.61)])
R(scs130hd_mpr2xa_8, npc, [(0.45,0.975,8.02,1.345), (0.45,0.975,8.02,1.345)])
R(scs130hd_mpr2xa_8, pwell_pin, [(0.385,-0.085,0.555,0.085), (0.385,-0.085,0.555,0.085)])
R(scs130hd_mpr2xa_8, boundary, [(0,0,8.74,2.72), (0,0,8.74,2.72)])
scs130hd_mpr2xa_8.add(gdstk.Label('vgnd', (0.24,0), layer=68, texttype=5))
scs130hd_mpr2xa_8.add(gdstk.Label('vpwr', (0.24,2.72), layer=68, texttype=5))
scs130hd_mpr2xa_8.add(gdstk.Label('vgnd', (0.24,0), layer=68, texttype=5))
scs130hd_mpr2xa_8.add(gdstk.Label('vpwr', (0.24,2.72), layer=68, texttype=5))
scs130hd_mpr2xa_8.add(gdstk.Label('VPB', (0.47,2.72), layer=64, texttype=5))
scs130hd_mpr2xa_8.add(gdstk.Label('VPB', (0.47,2.72), layer=64, texttype=5))
scs130hd_mpr2xa_8.add(gdstk.Label('VNB', (0.47,0), layer=64, texttype=59))
scs130hd_mpr2xa_8.add(gdstk.Label('VNB', (0.47,0), layer=64, texttype=59))
scs130hd_mpr2xa_8.add(gdstk.Label('R0', (5.35,0.53), layer=70, texttype=5))
scs130hd_mpr2xa_8.add(gdstk.Label('R1', (8.075,0.52), layer=70, texttype=5))
scs130hd_mpr2xa_8.add(gdstk.Label('R2', (3.8,0.545), layer=70, texttype=5))
scs130hd_mpr2xa_8.add(gdstk.Label('R3', (6.385,0.535), layer=70, texttype=5))
scs130hd_mpr2xa_8.add(gdstk.Label('B1', (4.955,2.357), layer=70, texttype=5))
scs130hd_mpr2xa_8.add(gdstk.Label('B0', (1.195,0.52), layer=70, texttype=5))
scs130hd_mpr2xa_8.add(gdstk.Label('A0', (1.33,1.64), layer=70, texttype=5))
scs130hd_mpr2xa_8.add(gdstk.Label('R0', (5.35,0.53), layer=70, texttype=5))
scs130hd_mpr2xa_8.add(gdstk.Label('R1', (8.075,0.52), layer=70, texttype=5))
scs130hd_mpr2xa_8.add(gdstk.Label('R2', (3.8,0.545), layer=70, texttype=5))
scs130hd_mpr2xa_8.add(gdstk.Label('R3', (6.385,0.535), layer=70, texttype=5))
scs130hd_mpr2xa_8.add(gdstk.Label('B1', (4.955,2.357), layer=70, texttype=5))
scs130hd_mpr2xa_8.add(gdstk.Label('B0', (1.195,0.52), layer=70, texttype=5))
scs130hd_mpr2xa_8.add(gdstk.Label('A0', (1.33,1.64), layer=70, texttype=5))
scs130hd_mpr2xa_8.add(gdstk.Label('A1', (4.64,1.245), layer=71, texttype=5))
scs130hd_mpr2xa_8.add(gdstk.Label('A1', (4.64,1.245), layer=71, texttype=5))

lib.write_gds('scs130hd_mpr2xa_8.gds')
